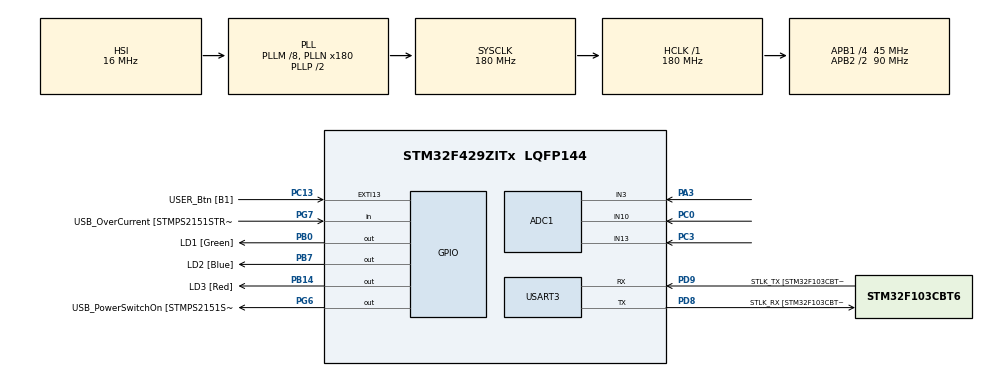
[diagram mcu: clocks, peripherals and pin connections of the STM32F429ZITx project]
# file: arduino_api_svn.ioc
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Mcu.Family=STM32F4
NVIC.USART3_IRQn=true\:0\:0\:false\:true\:true\:2\:true\:true
RCC.CortexFreq_Value=180000000
PG6.Signal=GPIO_Output
PB14.GPIO_Label=LD3 [Red]
PG6.GPIO_Label=USB_PowerSwitchOn [STMPS2151STR_EN]
PA14.GPIO_Label=TCK
RCC.SYSCLKSourceVirtual=RCC_SYSCLKSOURCE_PLLCLK
VP_RTC_VS_RTC_Activate.Mode=RTC_Enabled
PB0.GPIO_Label=LD1 [Green]
PC14/OSC32_IN.Mode=LSE-External-Oscillator
PC13.GPIO_Label=USER_Btn [B1]
PB13.GPIO_Label=RMII_TXD1 [LAN8742A-CZ-TR_TXD1]
PB13.Signal=ETH_TXD1
PG13.Signal=ETH_TXD0
PD9.Mode=Asynchronous
PG11.Signal=ETH_TX_EN
RCC.SYSCLKSource=RCC_SYSCLKSOURCE_PLLCLK
ProjectManager.StackSize=0x400
PA12.Signal=USB_OTG_FS_DP
RCC.RCC_RTC_Clock_Source=RCC_RTCCLKSOURCE_LSE
RCC.HCLKFreq_Value=180000000
SH.ADCx_IN3.0=ADC1_IN3,IN3
RCC.APB2TimFreq_Value=180000000
PC3.Signal=ADCx_IN13
PD8.Signal=USART3_TX
RCC.AHBFreq_Value=180000000
NVIC.EXTI15_10_IRQn=true\:0\:0\:false\:true\:true\:1\:true\:true
ADC1.Channel-0\#ChannelRegularConversion=ADC_CHANNEL_3
RCC.HSE_VALUE=8000000
RCC.PLLMUL=RCC_PLL_MUL9
PC4.GPIO_Label=RMII_RXD0 [LAN8742A-CZ-TR_RXD0]
PA14.Mode=Serial_Wire
PA10.GPIO_Label=USB_ID
PB7.Signal=GPIO_Output
PA8.Signal=USB_OTG_FS_SOF
ADC1.SamplingTime-0\#ChannelRegularConversion=ADC_SAMPLETIME_3CYCLES
PB7.GPIO_Label=LD2 [Blue]
Mcu.Package=LQFP144
PC14/OSC32_IN.Signal=RCC_OSC32_IN
PA2.GPIO_Label=RMII_MDIO [LAN8742A-CZ-TR_MDIO]
PA10.Signal=USB_OTG_FS_ID
RCC.APB2CLKDivider=RCC_HCLK_DIV2
RCC.APB1TimFreq_Value=90000000
PG11.GPIO_Label=RMII_TX_EN [LAN8742A-CZ-TR_TXEN]
PC5.Signal=ETH_RXD1
PA3.Signal=ADCx_IN3
SH.ADCx_IN13.0=ADC1_IN13,IN13
ADC1.Rank-0\#ChannelRegularConversion=1
PG7.Signal=GPIO_Input
PD9.GPIO_Label=STLK_TX [STM32F103CBT6_PA2]
PC13.Signal=GPXTI13
PA9.GPIO_Label=USB_VBUS
PC4.Signal=ETH_RXD0
PA11.GPIO_Label=USB_DM
PD9.Signal=USART3_RX
PC0.Signal=ADCx_IN10
RCC.APB1CLKDivider=RCC_HCLK_DIV4
PG13.GPIO_Label=RMII_TXD0 [LAN8742A-CZ-TR_TXD0]
PA12.GPIO_Label=USB_DP
PD8.GPIO_Label=STLK_RX [STM32F103CBT6_PA3]
PA13.Signal=SYS_JTMS-SWDIO
PA8.GPIO_Label=USB_SOF [TP1]
ProjectManager.TargetToolchain=STM32CubeIDE
PA9.Signal=USB_OTG_FS_VBUS
RCC.USBFreq_Value=48000000
PD8.Mode=Asynchronous
PA1.Signal=ETH_REF_CLK
PB14.Signal=GPIO_Output
board=NUCLEO-F429ZI
RCC.VCOOutputFreq_Value=360000000
PH0/OSC_IN.Signal=RCC_OSC_IN
RCC.APB2Freq_Value=90000000
RCC.PRESCALERUSB=RCC_USBCLKSOURCE_PLL_DIV1_5
PG7.GPIO_Label=USB_OverCurrent [STMPS2151STR_FAULT]
PA1.GPIO_Label=RMII_REF_CLK [LAN8742A-CZ-TR_REFCLK0]
PC1.GPIO_Label=RMII_MDC [LAN8742A-CZ-TR_MDC]
RCC.RCC_RTC_Clock_SourceVirtual=RCC_RTCCLKSOURCE_LSE
PA13.Mode=Serial_Wire
Mcu.Name=STM32F429ZITx
PA2.Signal=ETH_MDIO
PA13.GPIO_Label=TMS
RCC.APB2TimCLKDivider=2
RCC.48MHZClocksFreq_Value=51428571.428571425
RCC.SYSCLKFreq_VALUE=180000000
PA7.GPIO_Label=RMII_CRS_DV [LAN8742A-CZ-TR_CRS_DV]
ADC1.master=1
PC13.GPIO_ModeDefaultEXTI=GPIO_MODE_IT_RISING_FALLING
PC5.GPIO_Label=RMII_RXD1 [LAN8742A-CZ-TR_RXD1]
USART3.VirtualMode=VM_ASYNC
PC15/OSC32_OUT.Mode=LSE-External-Oscillator
PA11.Signal=USB_OTG_FS_DM
PA14.Signal=SYS_JTCK-SWCLK
SH.ADCx_IN10.0=ADC1_IN10,IN10
ProjectManager.HeapSize=0x200
RCC.HSI_VALUE=16000000
PH0/OSC_IN.GPIO_Label=MCO [STM32F103CBT6_PA8]
RCC.PLLQ=7
NVIC.PriorityGroup=NVIC_PRIORITYGROUP_4
ADC1.NbrOfConversionFlag=1
RCC.PLLM=8
RCC.PLLN=180
PC15/OSC32_OUT.Signal=RCC_OSC32_OUT
RCC.APB1Freq_Value=45000000
PB0.Signal=GPIO_Output
PC1.Signal=ETH_MDC
PA7.Signal=ETH_CRS_DV

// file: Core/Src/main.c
/* USER CODE BEGIN Header */
/**
  ******************************************************************************
  * @file           : main.c
  * @brief          : Main program body
  ******************************************************************************
  * @attention
  *
  * <h2><center>&copy; Copyright (c) 2021 STMicroelectronics.
  * All rights reserved.</center></h2>
  *
  * This software component is licensed by ST under BSD 3-Clause license,
  * the "License"; You may not use this file except in compliance with the
  * License. You may obtain a copy of the License at:
  *                        opensource.org/licenses/BSD-3-Clause
  *
  ******************************************************************************
  */
/* USER CODE END Header */
#include "main.h"
#include "adc.h"
#include "rtc.h"
#include "usart.h"
#include "gpio.h"

/* USER CODE BEGIN Includes */
#include "arduino_gpio_api.h"
#include "stdio.h"
#include "string.h"
/* USER CODE END Includes */

/* USER CODE BEGIN PD */
#define LONG_CLICK_MIN 1100
#define LONG_CLICK_MAX 2000
#define DOUBLE_CLICK_MIN 10
#define DOUBLE_CLICK_MAX 200
#define NOISE_MAX 2
/* USER CODE END PD */

/* USER CODE BEGIN PV */

int32_t t0,t_1st_rising,t_1st_falling,t_2nd_rising,t_2nd_falling,dt;
int ninterrupt=0;

char str[100];
/* USER CODE END PV */

void SystemClock_Config(void);
static void MX_NVIC_Init(void);

/* USER CODE BEGIN 0 */
void Serial_println(char *str)
{
  printf(str);
}
void setup()
{
	pinMode(0, OUTPUT);
}

void loop()
{

}
/* USER CODE END 0 */

int main(void)
{
  /* USER CODE BEGIN 1 */
  uint32_t adc_value;
  char uart_buf[30];

  /* USER CODE END 1 */

  /* MCU Configuration--------------------------------------------------------*/

  /* Reset of all peripherals, Initializes the Flash interface and the Systick. */
  HAL_Init();

  /* Configure the system clock */
  SystemClock_Config();

  /* Initialize all configured peripherals */
  MX_GPIO_Init();
  MX_USART3_UART_Init();
  MX_RTC_Init();
  MX_ADC1_Init();

  /* Initialize interrupts */
  MX_NVIC_Init();
  /* USER CODE BEGIN 2 */
  setup();

  /* USER CODE END 2 */

  /* Infinite loop */
  while (1)
  {

  }
}

void SystemClock_Config(void)
{
  RCC_OscInitTypeDef RCC_OscInitStruct = {0};
  RCC_ClkInitTypeDef RCC_ClkInitStruct = {0};
  RCC_PeriphCLKInitTypeDef PeriphClkInitStruct = {0};

  /** Configure the main internal regulator output voltage
  */
  __HAL_RCC_PWR_CLK_ENABLE();
  __HAL_PWR_VOLTAGESCALING_CONFIG(PWR_REGULATOR_VOLTAGE_SCALE1);
  /** Initializes the RCC Oscillators according to the specified parameters
  * in the RCC_OscInitTypeDef structure.
  */
  RCC_OscInitStruct.OscillatorType = RCC_OSCILLATORTYPE_HSI|RCC_OSCILLATORTYPE_LSE;
  RCC_OscInitStruct.LSEState = RCC_LSE_ON;
  RCC_OscInitStruct.HSIState = RCC_HSI_ON;
  RCC_OscInitStruct.HSICalibrationValue = RCC_HSICALIBRATION_DEFAULT;
  RCC_OscInitStruct.PLL.PLLState = RCC_PLL_ON;
  RCC_OscInitStruct.PLL.PLLSource = RCC_PLLSOURCE_HSI;
  RCC_OscInitStruct.PLL.PLLM = 8;
  RCC_OscInitStruct.PLL.PLLN = 180;
  RCC_OscInitStruct.PLL.PLLP = RCC_PLLP_DIV2;
  RCC_OscInitStruct.PLL.PLLQ = 7;
  if (HAL_RCC_OscConfig(&RCC_OscInitStruct) != HAL_OK)
  {
    Error_Handler();
  }
  /** Activate the Over-Drive mode
  */
  if (HAL_PWREx_EnableOverDrive() != HAL_OK)
  {
    Error_Handler();
  }
  /** Initializes the CPU, AHB and APB buses clocks
  */
  RCC_ClkInitStruct.ClockType = RCC_CLOCKTYPE_HCLK|RCC_CLOCKTYPE_SYSCLK
                              |RCC_CLOCKTYPE_PCLK1|RCC_CLOCKTYPE_PCLK2;
  RCC_ClkInitStruct.SYSCLKSource = RCC_SYSCLKSOURCE_PLLCLK;
  RCC_ClkInitStruct.AHBCLKDivider = RCC_SYSCLK_DIV1;
  RCC_ClkInitStruct.APB1CLKDivider = RCC_HCLK_DIV4;
  RCC_ClkInitStruct.APB2CLKDivider = RCC_HCLK_DIV2;

  if (HAL_RCC_ClockConfig(&RCC_ClkInitStruct, FLASH_LATENCY_5) != HAL_OK)
  {
    Error_Handler();
  }
  PeriphClkInitStruct.PeriphClockSelection = RCC_PERIPHCLK_RTC;
  PeriphClkInitStruct.RTCClockSelection = RCC_RTCCLKSOURCE_LSE;
  if (HAL_RCCEx_PeriphCLKConfig(&PeriphClkInitStruct) != HAL_OK)
  {
    Error_Handler();
  }
}

/**
  * @brief NVIC Configuration.
  * @retval None
  */
static void MX_NVIC_Init(void)
{
  /* EXTI15_10_IRQn interrupt configuration */
  HAL_NVIC_SetPriority(EXTI15_10_IRQn, 0, 0);
  HAL_NVIC_EnableIRQ(EXTI15_10_IRQn);
  /* USART3_IRQn interrupt configuration */
  HAL_NVIC_SetPriority(USART3_IRQn, 0, 0);
  HAL_NVIC_EnableIRQ(USART3_IRQn);
}

/* USER CODE BEGIN 4 */
//char str[100];
int k;
void HAL_GPIO_EXTI_Callback(uint16_t GPIO_Pin)
{
	GPIO_PinState pin;
	if(GPIO_Pin == GPIO_PIN_13)
	{
		pin=HAL_GPIO_ReadPin(GPIOC,GPIO_PIN_13);
//---------------------------------------------------------------1st rising
		if(ninterrupt==0 && pin==1)
		{
			t_1st_rising = HAL_GetTick();
			ninterrupt++;
		}
//---------------------------------------------------------------1st falling
		else if(ninterrupt==1 && pin==0)
		{
			t_1st_falling = HAL_GetTick();
			dt = t_1st_falling - t_1st_rising;
			if(dt>=LONG_CLICK_MIN && dt<=LONG_CLICK_MAX)
			{
				sprintf(str,"LONG CLICK\r\n");
				ninterrupt=0;
			}
			else if(dt>0 && dt<=NOISE_MAX){	ninterrupt=0;}
			else if(dt>DOUBLE_CLICK_MAX+10 && dt<LONG_CLICK_MIN-10)
			{
				sprintf(str, "Select Key. (interval = %d )\r\n",(int)dt);
				ninterrupt=0;
			}
			else if(dt>=DOUBLE_CLICK_MIN && dt<=DOUBLE_CLICK_MAX){ninterrupt++;}
		}
//---------------------------------------------------------------2nd rising
		else if(ninterrupt == 2 && pin==1)
		{
			t_2nd_rising = HAL_GetTick();
			dt = t_2nd_rising-t_1st_falling;
			if(dt>=DOUBLE_CLICK_MIN && dt<=DOUBLE_CLICK_MAX)
			{
				ninterrupt++;
			}
			else ninterrupt=0;
		}
//---------------------------------------------------------------2nd falling
		else if(ninterrupt==3 && pin==0)
		{
			t_2nd_falling = HAL_GetTick();
			dt = t_2nd_falling - t_2nd_rising;
			if(dt>=DOUBLE_CLICK_MIN && dt<=DOUBLE_CLICK_MAX)
			{
				sprintf(str, "DOUBLE CLICK\r\n");
				ninterrupt=0;
			}
			else ninterrupt=0;
		}
		pin = HAL_GPIO_ReadPin(GPIOC,GPIO_PIN_13);
		HAL_UART_Transmit(&huart3,(uint8_t*)str,strlen(str),1000);
		memset(str,0,sizeof(str));
		dt=0;
	}
}

/*
 * A0 = PA3 = AC1_IN3
 * A1 = PC0 = AC1_IN10
 * A2 = PC3 = AC1_IN13
 */
int analogRead(int pin)
{
  int value;
  ADC_ChannelConfTypeDef sConfig = {0};

  if(pin==0)
  {
	sConfig.Channel = ADC_CHANNEL_3;
	sConfig.Rank = 1;
	sConfig.SamplingTime = ADC_SAMPLETIME_3CYCLES;
	if (HAL_ADC_ConfigChannel(&hadc1, &sConfig) != HAL_OK)
	{
	  Error_Handler();
	}
    HAL_ADC_Start(&hadc1);
    HAL_ADC_PollForConversion(&hadc1, 0xffff);
    value = HAL_ADC_GetValue(&hadc1);
    HAL_ADC_Stop(&hadc1);
  }
  else if(pin==1)
  {
    sConfig.Channel = ADC_CHANNEL_10;
    sConfig.Rank = 1;
    sConfig.SamplingTime = ADC_SAMPLETIME_3CYCLES;
    if (HAL_ADC_ConfigChannel(&hadc1, &sConfig) != HAL_OK)
    {
      Error_Handler();
    }
    HAL_ADC_Start(&hadc1);
    HAL_ADC_PollForConversion(&hadc1, 0xffff);
    value = HAL_ADC_GetValue(&hadc1);
    HAL_ADC_Stop(&hadc1);
  }
  else if(pin==2)
  {
    sConfig.Channel = ADC_CHANNEL_13;
    sConfig.Rank = 1;
    sConfig.SamplingTime = ADC_SAMPLETIME_3CYCLES;
    if (HAL_ADC_ConfigChannel(&hadc1, &sConfig) != HAL_OK)
    {
      Error_Handler();
    }
    HAL_ADC_Start(&hadc1);
    HAL_ADC_PollForConversion(&hadc1, 0xffff);
    value = HAL_ADC_GetValue(&hadc1);
    HAL_ADC_Stop(&hadc1);
  }

  return value;
}
/* USER CODE END 4 */

void Error_Handler(void)
{
  __disable_irq();
  while (1)
  {
  }
}

/************************ (C) COPYRIGHT STMicroelectronics *****END OF FILE****/
